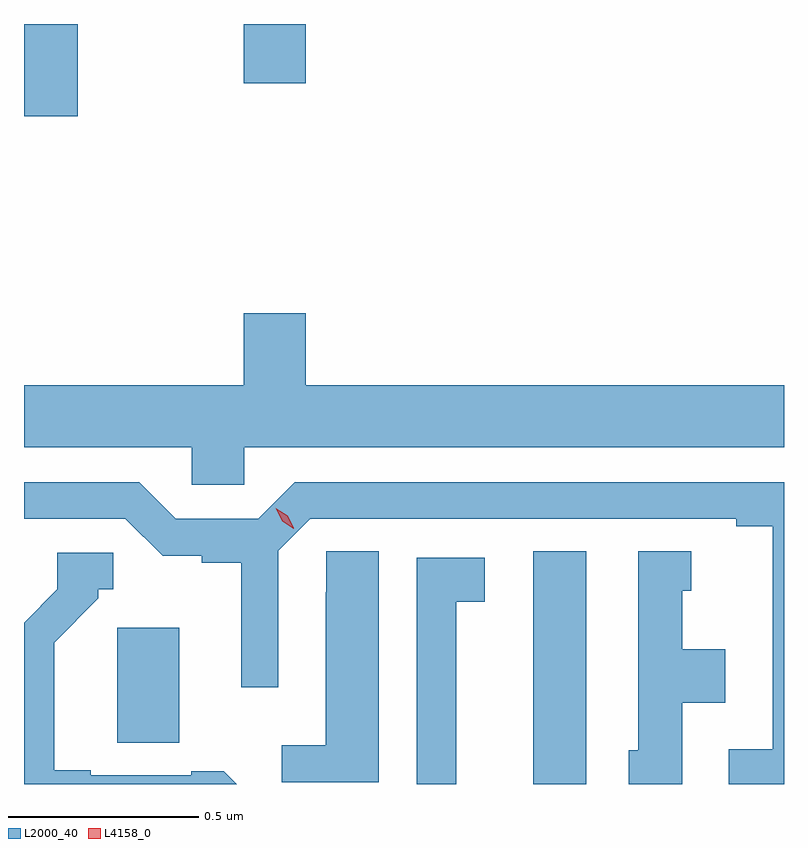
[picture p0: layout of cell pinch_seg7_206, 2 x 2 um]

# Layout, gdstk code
import gdstk
lib = gdstk.Library(unit=1e-6, precision=1e-09)
def R(c, l, rs):  # rectangles x0, y0, x1, y1
    for r in rs: c.add(gdstk.rectangle(r[:2], r[2:], *l))
def P(c, l, *ps):  # polygons
    for p in ps: c.add(gdstk.Polygon(p, *l))
L2000_40 = (2000, 40)
L4158_0 = (4158, 0)

pinch_seg7_206 = lib.new_cell('pinch_seg7_206')
R(pinch_seg7_206, L2000_40, [(1088.846,1037.026,1088.986,1037.638), (1087.506,1038.783,1087.647,1039.026), (1088.084,1038.87,1088.248,1039.026)])
P(pinch_seg7_206, L2000_40, [(1088.085,1037.912),(1089.506,1037.912),(1089.506,1038.076),(1088.248,1038.076),(1088.248,1038.265),(1088.084,1038.265),(1088.084,1038.076),(1087.506,1038.076),(1087.506,1037.912),(1087.947,1037.912),(1087.947,1037.814),(1088.085,1037.814)],
  [(1089.506,1037.82),(1088.219,1037.82),(1088.123,1037.724),(1087.905,1037.724),(1087.809,1037.82),(1087.506,1037.82),(1087.506,1037.724),(1087.773,1037.724),(1087.871,1037.627),(1087.974,1037.627),(1087.974,1037.608),(1088.078,1037.608),(1088.078,1037.28),(1088.175,1037.28),(1088.175,1037.64),(1088.259,1037.724),(1089.38,1037.724),(1089.38,1037.704),(1089.476,1037.704),(1089.476,1037.118),(1089.36,1037.118),(1089.36,1037.026),(1089.506,1037.026)],
  [(1088.44,1037.639),(1088.301,1037.639),(1088.301,1037.531),(1088.3,1037.531),(1088.3,1037.128),(1088.184,1037.128),(1088.184,1037.031),(1088.44,1037.031)],
  [(1089.238,1037.24),(1089.352,1037.24),(1089.352,1037.38),(1089.238,1037.38),(1089.238,1037.535),(1089.262,1037.535),(1089.262,1037.638),(1089.122,1037.638),(1089.122,1037.115),(1089.098,1037.115),(1089.098,1037.026),(1089.238,1037.026)],
  [(1088.032,1037.06),(1087.946,1037.06),(1087.946,1037.049),(1087.681,1037.049),(1087.681,1037.062),(1087.585,1037.062),(1087.585,1037.398),(1087.702,1037.515),(1087.702,1037.538),(1087.741,1037.538),(1087.741,1037.634),(1087.593,1037.634),(1087.593,1037.538),(1087.506,1037.451),(1087.506,1037.026),(1088.066,1037.026)],
  [(1088.644,1037.506),(1088.719,1037.506),(1088.719,1037.622),(1088.54,1037.622),(1088.54,1037.026),(1088.644,1037.026)],
  [(1087.914,1037.292),(1087.915,1037.292),(1087.915,1037.437),(1087.751,1037.437),(1087.751,1037.134),(1087.914,1037.134)])
P(pinch_seg7_206, L4158_0, [(1088.216,1037.698),(1088.185,1037.718),(1088.168,1037.752),(1088.168,1037.752),(1088.168,1037.752),(1088.2,1037.732),(1088.216,1037.699),(1088.216,1037.698)])

lib.write_gds('pinch_seg7_206.gds')
